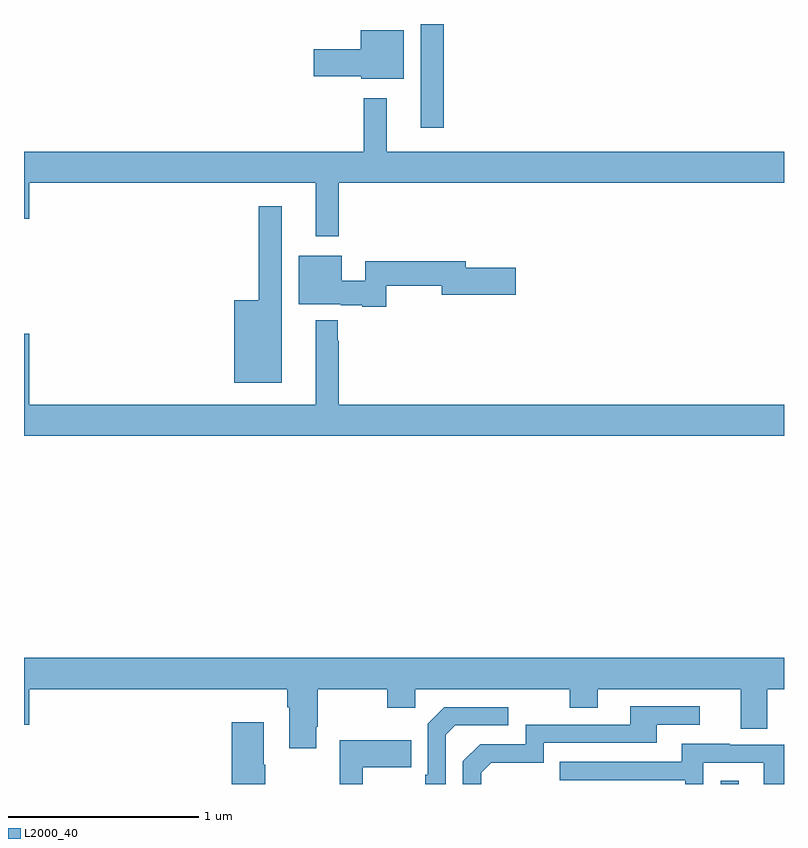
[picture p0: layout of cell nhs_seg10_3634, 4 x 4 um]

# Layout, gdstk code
import gdstk
lib = gdstk.Library(unit=1e-6, precision=1e-09)
def R(c, l, rs):  # rectangles x0, y0, x1, y1
    for r in rs: c.add(gdstk.rectangle(r[:2], r[2:], *l))
def P(c, l, *ps):  # polygons
    for p in ps: c.add(gdstk.Polygon(p, *l))
L2000_40 = (2000, 40)

nhs_seg10_3634 = lib.new_cell('nhs_seg10_3634')
R(nhs_seg10_3634, L2000_40, [(312.666,1282.5,312.763,1282.516), (311.087,1285.953,311.209,1286.5)])
P(nhs_seg10_3634, L2000_40, [(310.999,1286.467),(310.772,1286.467),(310.772,1286.366),(310.524,1286.366),(310.524,1286.224),(310.776,1286.224),(310.776,1286.213),(310.999,1286.213)],
  [(309,1285.476),(309.028,1285.476),(309.028,1285.664),(310.535,1285.664),(310.535,1285.383),(310.657,1285.383),(310.657,1285.664),(313,1285.664),(313,1285.828),(310.909,1285.828),(310.909,1286.11),(310.788,1286.11),(310.788,1285.828),(309,1285.828)],
  [(310.357,1285.54),(310.236,1285.54),(310.236,1285.045),(310.106,1285.045),(310.106,1284.611),(310.357,1284.611)],
  [(310.906,1285.123),(311.198,1285.123),(311.198,1285.076),(311.587,1285.076),(311.587,1285.218),(311.326,1285.218),(311.326,1285.252),(310.797,1285.252),(310.797,1285.148),(310.672,1285.148),(310.672,1285.279),(310.445,1285.279),(310.445,1285.025),(310.668,1285.025),(310.668,1285.019),(310.779,1285.019),(310.779,1285.012),(310.906,1285.012)],
  [(313,1284.496),(310.657,1284.496),(310.657,1284.833),(310.65,1284.833),(310.65,1284.94),(310.535,1284.94),(310.535,1284.496),(309.028,1284.496),(309.028,1284.871),(309,1284.871),(309,1284.332),(313,1284.332)],
  [(310.537,1282.801),(310.545,1282.801),(310.545,1283),(310.912,1283),(310.912,1282.901),(311.058,1282.901),(311.058,1283),(311.872,1283),(311.872,1282.901),(312.019,1282.901),(312.019,1283),(312.773,1283),(312.773,1282.792),(312.913,1282.792),(312.913,1283),(313,1283),(313,1283.164),(309,1283.164),(309,1282.812),(309.028,1282.812),(309.028,1283),(310.385,1283),(310.385,1282.904),(310.397,1282.904),(310.397,1282.689),(310.537,1282.689)],
  [(311.406,1282.56),(311.459,1282.613),(311.736,1282.613),(311.736,1282.716),(312.331,1282.716),(312.331,1282.812),(312.556,1282.812),(312.556,1282.908),(312.191,1282.908),(312.191,1282.812),(311.64,1282.812),(311.64,1282.71),(311.4,1282.71),(311.31,1282.62),(311.31,1282.5),(311.406,1282.5)],
  [(311.22,1282.758),(311.271,1282.809),(311.548,1282.809),(311.548,1282.905),(311.211,1282.905),(311.124,1282.818),(311.124,1282.549),(311.112,1282.549),(311.112,1282.5),(311.22,1282.5)],
  [(310.269,1282.601),(310.261,1282.601),(310.261,1282.825),(310.094,1282.825),(310.094,1282.5),(310.269,1282.5)],
  [(310.783,1282.589),(311.039,1282.589),(311.039,1282.729),(310.662,1282.729),(310.662,1282.5),(310.783,1282.5)],
  [(312.576,1282.611),(312.894,1282.611),(312.894,1282.5),(313,1282.5),(313,1282.707),(312.715,1282.707),(312.715,1282.711),(312.461,1282.711),(312.461,1282.617),(311.821,1282.617),(311.821,1282.521),(312.48,1282.521),(312.48,1282.5),(312.576,1282.5)])

lib.write_gds('nhs_seg10_3634.gds')
